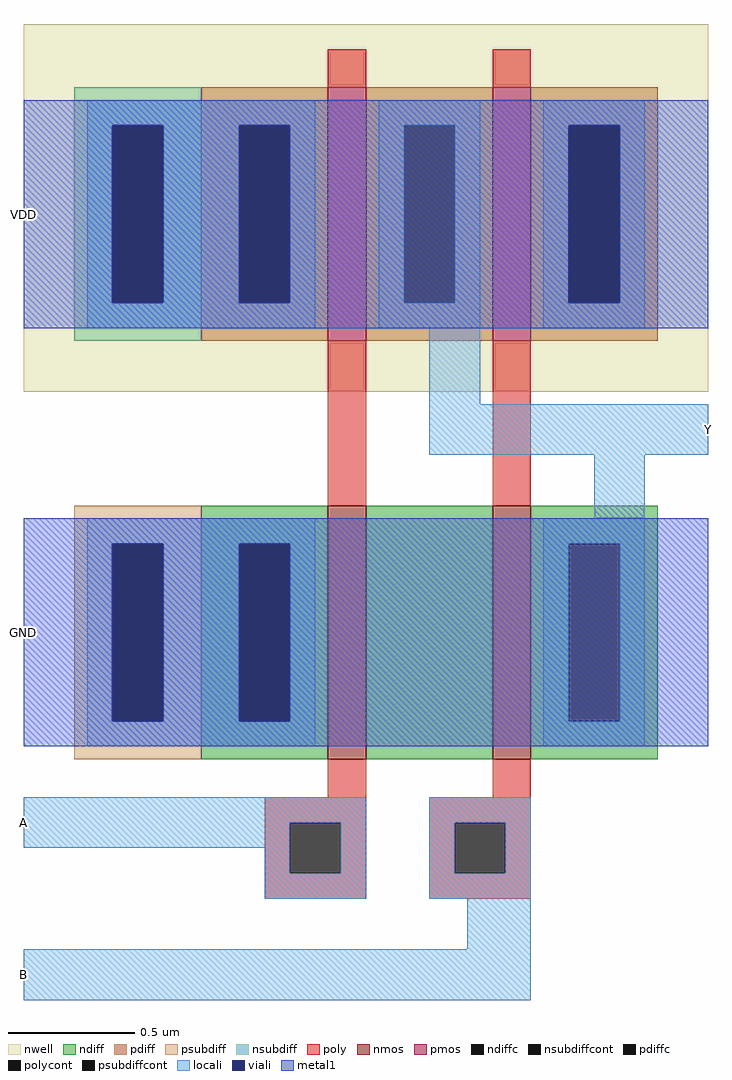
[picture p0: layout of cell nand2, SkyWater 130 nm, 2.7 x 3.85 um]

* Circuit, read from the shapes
.subckt nand2 A B Y VDD GND
XM1 n1 A GND GND sky130_fd_pr__nfet_01v8 w=1 l=0.15
XM2 Y B n1 GND sky130_fd_pr__nfet_01v8 w=1 l=0.15
XM3 Y A VDD VDD sky130_fd_pr__pfet_01v8 w=1 l=0.15
XM4 VDD B Y VDD sky130_fd_pr__pfet_01v8 w=1 l=0.15
.ends

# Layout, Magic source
magic
tech sky130A
<< nwell >>
rect -70 95 200 240
<< nmos >>
rect 50 -50 65 50
rect 115 -50 130 50
<< pmos >>
rect 50 115 65 215
rect 115 115 130 215
<< ndiff >>
rect 0 35 50 50
rect 0 -35 15 35
rect 35 -35 50 35
rect 0 -50 50 -35
rect 65 -50 115 50
rect 130 35 180 50
rect 130 -35 145 35
rect 165 -35 180 35
rect 130 -50 180 -35
<< pdiff >>
rect 0 200 50 215
rect 0 130 15 200
rect 35 130 50 200
rect 0 115 50 130
rect 65 200 115 215
rect 65 130 80 200
rect 100 130 115 200
rect 65 115 115 130
rect 130 200 180 215
rect 130 130 145 200
rect 165 130 180 200
rect 130 115 180 130
<< ndiffc >>
rect 15 -35 35 35
rect 145 -35 165 35
<< pdiffc >>
rect 15 130 35 200
rect 80 130 100 200
rect 145 130 165 200
<< psubdiff >>
rect -50 35 0 50
rect -50 -35 -35 35
rect -15 -35 0 35
rect -50 -50 0 -35
<< nsubdiff >>
rect -50 200 0 215
rect -50 130 -35 200
rect -15 130 0 200
rect -50 115 0 130
<< psubdiffcont >>
rect -35 -35 -15 35
<< nsubdiffcont >>
rect -35 130 -15 200
<< poly >>
rect 50 215 65 230
rect 115 215 130 230
rect 50 50 65 115
rect 115 50 130 115
rect 50 -65 65 -50
rect 115 -65 130 -50
rect 25 -75 65 -65
rect 25 -95 35 -75
rect 55 -95 65 -75
rect 25 -105 65 -95
rect 90 -75 130 -65
rect 90 -95 100 -75
rect 120 -95 130 -75
rect 90 -105 130 -95
<< polycont >>
rect 35 -95 55 -75
rect 100 -95 120 -75
<< locali >>
rect -45 200 45 210
rect -45 130 -35 200
rect -15 130 15 200
rect 35 130 45 200
rect -45 120 45 130
rect 70 200 110 210
rect 70 130 80 200
rect 100 130 110 200
rect 70 120 110 130
rect 135 200 175 210
rect 135 130 145 200
rect 165 130 175 200
rect 135 120 175 130
rect 90 90 110 120
rect 90 70 200 90
rect 155 45 175 70
rect -45 35 45 45
rect -45 -35 -35 35
rect -15 -35 15 35
rect 35 -35 45 35
rect -45 -45 45 -35
rect 135 35 175 45
rect 135 -35 145 35
rect 165 -35 175 35
rect 135 -45 175 -35
rect -70 -75 65 -65
rect -70 -85 35 -75
rect 25 -95 35 -85
rect 55 -95 65 -75
rect 25 -105 65 -95
rect 90 -75 130 -65
rect 90 -95 100 -75
rect 120 -95 130 -75
rect 90 -105 130 -95
rect 105 -125 130 -105
rect -70 -145 130 -125
<< viali >>
rect -35 130 -15 200
rect 15 130 35 200
rect 145 130 165 200
rect -35 -35 -15 35
rect 15 -35 35 35
<< metal1 >>
rect -70 200 200 210
rect -70 130 -35 200
rect -15 130 15 200
rect 35 130 145 200
rect 165 130 200 200
rect -70 120 200 130
rect -70 35 200 45
rect -70 -35 -35 35
rect -15 -35 15 35
rect 35 -35 200 35
rect -70 -45 200 -35
<< labels >>
flabel locali -70 -135 -70 -135 7 FreeSans 80 0 -40 0 B
port 2 w
flabel locali -70 -75 -70 -75 7 FreeSans 80 0 -40 0 A
port 1 w
flabel metal1 -70 0 -70 0 7 FreeSans 80 0 -40 0 GND
port 5 w
flabel metal1 -70 165 -70 165 7 FreeSans 80 0 -40 0 VDD
port 4 w
flabel locali 200 80 200 80 3 FreeSans 80 0 40 0 Y
port 3 e
<< end >>
